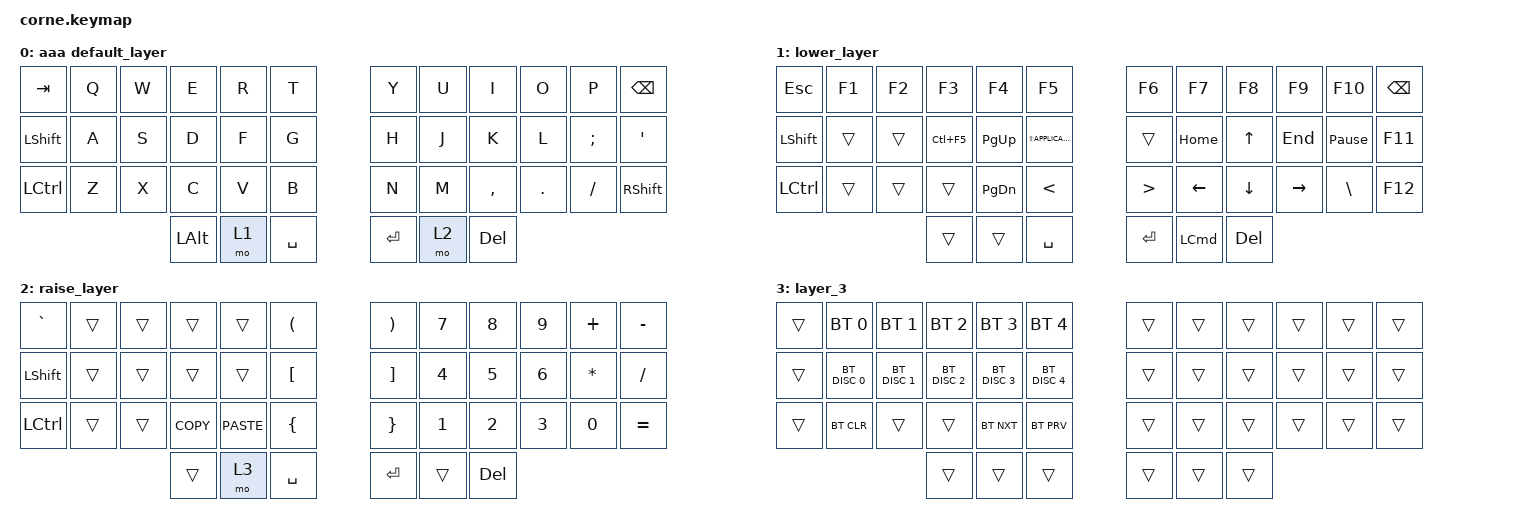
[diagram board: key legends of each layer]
/*
 * Copyright (c) 2020 The ZMK Contributors
 *
 * SPDX-License-Identifier: MIT
 */

#include <behaviors.dtsi>
#include <dt-bindings/zmk/bt.h>
#include <dt-bindings/zmk/keys.h>

/ {
    keymap {
        compatible = "zmk,keymap";
        aaa
        default_layer {
            bindings = <
&kp TAB         &kp Q  &kp W  &kp E     &kp R  &kp T        &kp Y      &kp U  &kp I      &kp O    &kp P     &kp BACKSPACE
&kp LEFT_SHIFT  &kp A  &kp S  &kp D     &kp F  &kp G        &kp H      &kp J  &kp K      &kp L    &kp SEMI  &kp SQT
&kp LCTRL       &kp Z  &kp X  &kp C     &kp V  &kp B        &kp N      &kp M  &kp COMMA  &kp DOT  &kp FSLH  &kp RIGHT_SHIFT
                              &kp LALT  &mo 1  &kp SPACE    &kp ENTER  &mo 2  &kp DEL
            >;
        };

        lower_layer {
            bindings = <
&kp ESC         &kp F1  &kp F2  &kp F3      &kp F4         &kp F5                   &kp F6            &kp F7            &kp F8          &kp F9     &kp F10          &kp BSPC
&kp LEFT_SHIFT  &trans  &trans  &kp LC(F5)  &kp PG_UP      &kp LS(K_APPLICATION)    &trans            &kp HOME          &kp UP          &kp END    &kp PAUSE_BREAK  &kp F11
&kp LCTRL       &trans  &trans  &trans      &kp PAGE_DOWN  &kp LESS_THAN            &kp GREATER_THAN  &kp LEFT_ARROW    &kp DOWN_ARROW  &kp RIGHT  &kp BSLH         &kp F12
                                &trans      &trans         &kp SPACE                &kp ENTER         &kp LEFT_COMMAND  &kp DELETE
            >;
        };

        raise_layer {
            bindings = <
&kp GRAVE       &trans  &trans  &trans      &trans       &kp LEFT_PARENTHESIS    &kp RIGHT_PARENTHESIS  &kp N7        &kp N8   &kp N9  &kp PLUS      &kp MINUS
&kp LEFT_SHIFT  &trans  &trans  &trans      &trans       &kp LEFT_BRACKET        &kp RIGHT_BRACKET      &kp N4        &kp N5   &kp N6  &kp ASTERISK  &kp FSLH
&kp LCTRL       &trans  &trans  &kp K_COPY  &kp K_PASTE  &kp LEFT_BRACE          &kp RIGHT_BRACE        &kp NUMBER_1  &kp N2   &kp N3  &kp N0        &kp EQUAL
                                &trans      &mo 3        &kp SPACE               &kp ENTER              &trans        &kp DEL
            >;
        };

        layer_3 {
            bindings = <
&trans  &bt BT_SEL 0   &bt BT_SEL 1   &bt BT_SEL 2   &bt BT_SEL 3   &bt BT_SEL 4     &trans  &trans  &trans  &trans  &trans  &trans
&trans  &bt BT_DISC 0  &bt BT_DISC 1  &bt BT_DISC 2  &bt BT_DISC 3  &bt BT_DISC 4    &trans  &trans  &trans  &trans  &trans  &trans
&trans  &bt BT_CLR     &trans         &trans         &bt BT_NXT     &bt BT_PRV       &trans  &trans  &trans  &trans  &trans  &trans
                                      &trans         &trans         &trans           &trans  &trans  &trans
            >;
        };
    };
};
